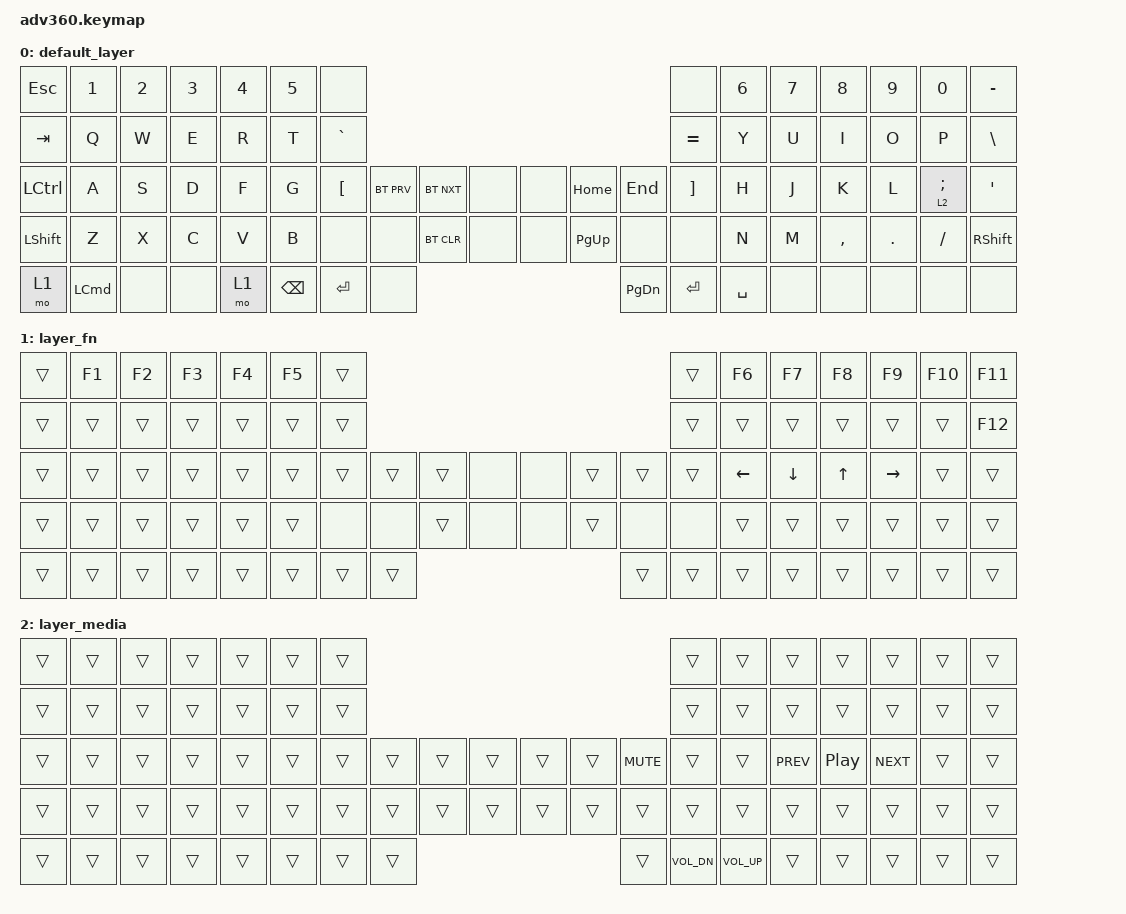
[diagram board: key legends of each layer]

/*
 * Copyright (c) 2020 The ZMK Contributors
 *
 * SPDX-License-Identifier: MIT
 */


/* THIS FILE WAS GENERATED!
 *
 * This file was generated automatically. You may or may not want to
 * edit it directly.
 */

#include <behaviors.dtsi>
#include <dt-bindings/zmk/keys.h>
#include <dt-bindings/zmk/bt.h>

/ {
  behaviors {
    #include "macros.dtsi"

    hm: homerow_mods {
        compatible = "zmk,behavior-hold-tap";
        label = "HOMEROW_MODS";
        #binding-cells = <2>;
        tapping-term-ms = <200>;
        quick_tap_ms = <175>;
        flavor = "tap-preferred";
        bindings = <&kp>, <&kp>;
    };
  };

    keymap {
        compatible = "zmk,keymap";


        default_layer {
            bindings = <
 &kp ESCAPE    &kp N1  &kp N2  &kp N3  &kp N4  &kp N5                       &none                                                                            &none  &kp N6  &kp N7     &kp N8   &kp N9           &kp N0  &kp MINUS
    &kp TAB     &kp Q   &kp W   &kp E   &kp R   &kp T                   &kp GRAVE                                                                        &kp EQUAL   &kp Y   &kp U      &kp I    &kp O            &kp P   &kp BSLH
  &kp LCTRL     &kp A   &kp S   &kp D   &kp F   &kp G            &kp LEFT_BRACKET  &bt BT_PRV  &bt BT_NXT   &none   &none   &kp HOME    &kp END  &kp RIGHT_BRACKET   &kp H   &kp J      &kp K    &kp L  &lt 2 SEMICOLON    &kp SQT
  &kp LSHFT     &kp Z   &kp X   &kp C   &kp V   &kp B                       &none       &none  &bt BT_CLR   &none   &none  &kp PG_UP      &none              &none   &kp N   &kp M  &kp COMMA  &kp DOT         &kp FSLH  &kp RSHFT
      &mo 1  &kp LCMD   &none   &none   &mo 1                            &kp BSPC   &kp ENTER       &none                  &kp PG_DN  &kp ENTER          &kp SPACE           &none      &none    &none            &none      &none
            >;
        };

        layer_fn {
            bindings = <
 &trans  &kp F1  &kp F2  &kp F3  &kp F4  &kp F5            &trans                                                  &trans    &kp F6    &kp F7  &kp F8     &kp F9  &kp F10  &kp F11
 &trans  &trans  &trans  &trans  &trans  &trans            &trans                                                  &trans    &trans    &trans  &trans     &trans   &trans  &kp F12
 &trans  &trans  &trans  &trans  &trans  &trans            &trans  &trans  &trans   &none   &none  &trans  &trans  &trans  &kp LEFT  &kp DOWN  &kp UP  &kp RIGHT   &trans   &trans
 &trans  &trans  &trans  &trans  &trans  &trans             &none   &none  &trans   &none   &none  &trans   &none   &none    &trans    &trans  &trans     &trans   &trans   &trans
 &trans  &trans  &trans  &trans  &trans                    &trans  &trans  &trans                  &trans  &trans  &trans              &trans  &trans     &trans   &trans   &trans
            >;
        };

        layer_media {
            bindings = <
 &trans  &trans  &trans  &trans  &trans  &trans            &trans                                                              &trans  &trans      &trans    &trans      &trans  &trans  &trans
 &trans  &trans  &trans  &trans  &trans  &trans            &trans                                                              &trans  &trans      &trans    &trans      &trans  &trans  &trans
 &trans  &trans  &trans  &trans  &trans  &trans            &trans  &trans  &trans  &trans  &trans  &trans    &kp C_MUTE        &trans  &trans  &kp C_PREV  &kp C_PP  &kp C_NEXT  &trans  &trans
 &trans  &trans  &trans  &trans  &trans  &trans            &trans  &trans  &trans  &trans  &trans  &trans        &trans        &trans  &trans      &trans    &trans      &trans  &trans  &trans
 &trans  &trans  &trans  &trans  &trans                    &trans  &trans  &trans                  &trans  &kp C_VOL_DN  &kp C_VOL_UP              &trans    &trans      &trans  &trans  &trans
            >;
        };

    };
};
